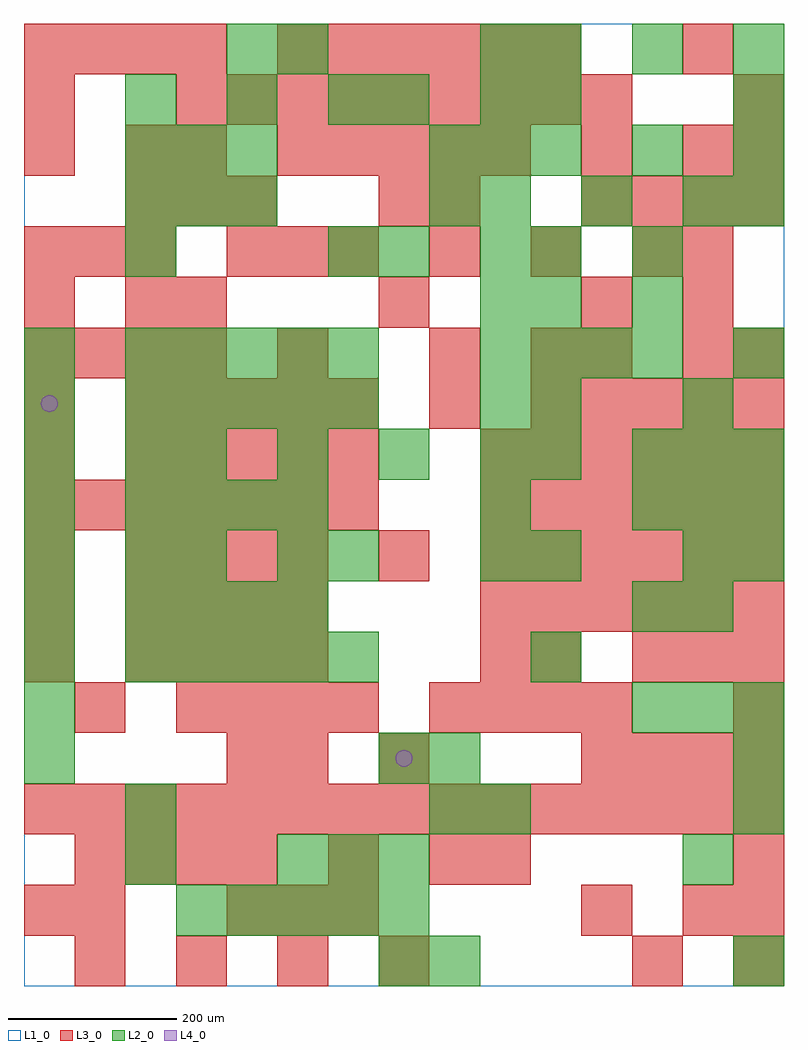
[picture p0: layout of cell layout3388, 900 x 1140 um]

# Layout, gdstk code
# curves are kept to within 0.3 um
import gdstk
lib = gdstk.Library(unit=1e-6, precision=1e-09)
def R(c, l, rs):  # rectangles x0, y0, x1, y1
    for r in rs: c.add(gdstk.rectangle(r[:2], r[2:], *l))
def A(c, l, x, y, w, h, nx, ny, dx, dy):  # array of equal rectangles
    R(c, l, [(x+i*dx, y+j*dy, x+i*dx+w, y+j*dy+h) for i in range(nx) for j in range(ny)])
def P(c, l, *ps):  # polygons
    for p in ps: c.add(gdstk.Polygon(p, *l))
L1_0 = (1, 0)
L2_0 = (2, 0)
L3_0 = (3, 0)
L4_0 = (4, 0)

layout3388 = lib.new_cell('layout3388')
R(layout3388, L1_0, [(0,0,900,1140)])
A(layout3388, L2_0, 180, 60, 60, 60, 5, 1, 60, 0)
A(layout3388, L2_0, 300, 120, 60, 60, 3, 1, 60, 0)
A(layout3388, L2_0, 0, 240, 60, 60, 1, 9, 0, 60)
A(layout3388, L2_0, 840, 240, 60, 60, 1, 3, 0, 240)
A(layout3388, L2_0, 720, 300, 60, 60, 3, 2, 60, 240)
A(layout3388, L2_0, 120, 360, 60, 60, 5, 2, 60, 300)
A(layout3388, L2_0, 600, 360, 60, 60, 1, 3, 0, 120)
A(layout3388, L2_0, 120, 420, 60, 60, 4, 2, 60, 120)
A(layout3388, L2_0, 540, 540, 60, 60, 1, 3, 0, 120)
A(layout3388, L2_0, 180, 600, 60, 60, 4, 1, 120, 0)
A(layout3388, L2_0, 720, 600, 60, 60, 3, 1, 60, 0)
A(layout3388, L2_0, 120, 720, 60, 60, 5, 1, 60, 0)
A(layout3388, L2_0, 540, 720, 60, 60, 4, 1, 60, 0)
A(layout3388, L2_0, 120, 900, 60, 60, 3, 2, 60, 60)
A(layout3388, L2_0, 540, 900, 60, 60, 3, 1, 120, 0)
A(layout3388, L2_0, 840, 900, 60, 60, 1, 3, 0, 60)
A(layout3388, L2_0, 480, 960, 60, 60, 3, 1, 60, 0)
A(layout3388, L2_0, 120, 1020, 60, 60, 3, 1, 120, 0)
A(layout3388, L2_0, 600, 1080, 60, 60, 3, 1, 120, 0)
R(layout3388, L2_0, [(420,0,480,60), (480,0,540,60), (840,0,900,60), (120,120,180,180), (780,120,840,180), (120,180,180,240), (480,180,540,240), (540,180,600,240), (840,180,900,240), (420,240,480,300), (480,240,540,300), (720,420,780,480), (780,420,840,480), (120,480,180,540), (180,480,240,540), (300,480,360,540), (360,480,420,540), (540,480,600,540), (780,480,840,540), (120,600,180,660), (600,660,660,720), (780,660,840,720), (600,780,660,840), (720,780,780,840), (120,840,180,900), (360,840,420,900), (420,840,480,900), (540,840,600,900), (600,840,660,900), (720,840,780,900), (480,900,540,960), (720,960,780,1020), (420,1020,480,1080), (540,1020,600,1080), (600,1020,660,1080), (240,1080,300,1140), (300,1080,360,1140), (540,1080,600,1140)])
A(layout3388, L3_0, 60, 0, 60, 60, 4, 1, 120, 0)
A(layout3388, L3_0, 840, 0, 60, 60, 1, 3, 0, 60)
A(layout3388, L3_0, 240, 60, 60, 60, 3, 2, 60, 780)
A(layout3388, L3_0, 60, 120, 60, 60, 4, 1, 60, 0)
A(layout3388, L3_0, 0, 180, 60, 60, 15, 1, 60, 0)
A(layout3388, L3_0, 660, 240, 60, 60, 4, 2, 60, 660)
A(layout3388, L3_0, 180, 300, 60, 60, 4, 1, 60, 0)
A(layout3388, L3_0, 480, 300, 60, 60, 4, 1, 60, 0)
A(layout3388, L3_0, 0, 360, 60, 60, 1, 3, 0, 60)
A(layout3388, L3_0, 120, 360, 60, 60, 4, 3, 60, 60)
A(layout3388, L3_0, 720, 360, 60, 60, 3, 1, 60, 0)
A(layout3388, L3_0, 540, 420, 60, 60, 6, 4, 60, 60)
A(layout3388, L3_0, 0, 540, 60, 60, 7, 1, 60, 0)
A(layout3388, L3_0, 120, 600, 60, 60, 5, 2, 60, 60)
A(layout3388, L3_0, 600, 660, 60, 60, 5, 1, 60, 0)
A(layout3388, L3_0, 0, 720, 60, 60, 4, 2, 60, 360)
A(layout3388, L3_0, 780, 720, 60, 60, 1, 3, 0, 60)
A(layout3388, L3_0, 180, 780, 60, 60, 3, 1, 240, 0)
A(layout3388, L3_0, 0, 840, 60, 60, 3, 1, 60, 0)
A(layout3388, L3_0, 480, 840, 60, 60, 3, 1, 120, 0)
A(layout3388, L3_0, 120, 900, 60, 60, 3, 1, 60, 0)
A(layout3388, L3_0, 300, 960, 60, 60, 5, 1, 60, 0)
A(layout3388, L3_0, 180, 1020, 60, 60, 9, 1, 60, 0)
A(layout3388, L3_0, 300, 1080, 60, 60, 6, 1, 60, 0)
R(layout3388, L3_0, [(720,0,780,60), (0,60,60,120), (60,60,120,120), (660,60,720,120), (780,60,840,120), (360,120,420,180), (480,120,540,180), (540,120,600,180), (240,240,300,300), (300,240,360,300), (420,240,480,300), (60,300,120,360), (840,300,900,360), (540,360,600,420), (600,360,660,420), (420,480,480,540), (0,600,60,660), (0,660,60,720), (480,660,540,720), (300,720,360,780), (480,720,540,780), (600,720,660,780), (660,720,720,780), (840,720,900,780), (0,780,60,840), (120,780,180,840), (420,900,480,960), (480,900,540,960), (0,960,60,1020), (120,960,180,1020), (180,960,240,1020), (660,960,720,1020), (780,960,840,1020), (840,960,900,1020), (0,1020,60,1080), (840,1020,900,1080), (780,1080,840,1140)])
P(layout3388, L4_0, [(40,690),(39.239,693.827),(37.071,697.071),(33.827,699.239),(30,700),(26.173,699.239),(22.929,697.071),(20.761,693.827),(20,690),(20.761,686.173),(22.929,682.929),(26.173,680.761),(30,680),(33.827,680.761),(37.071,682.929),(39.239,686.173)],
  [(460,270),(459.239,273.827),(457.071,277.071),(453.827,279.239),(450,280),(446.173,279.239),(442.929,277.071),(440.761,273.827),(440,270),(440.761,266.173),(442.929,262.929),(446.173,260.761),(450,260),(453.827,260.761),(457.071,262.929),(459.239,266.173)])

lib.write_gds('layout3388.gds')
